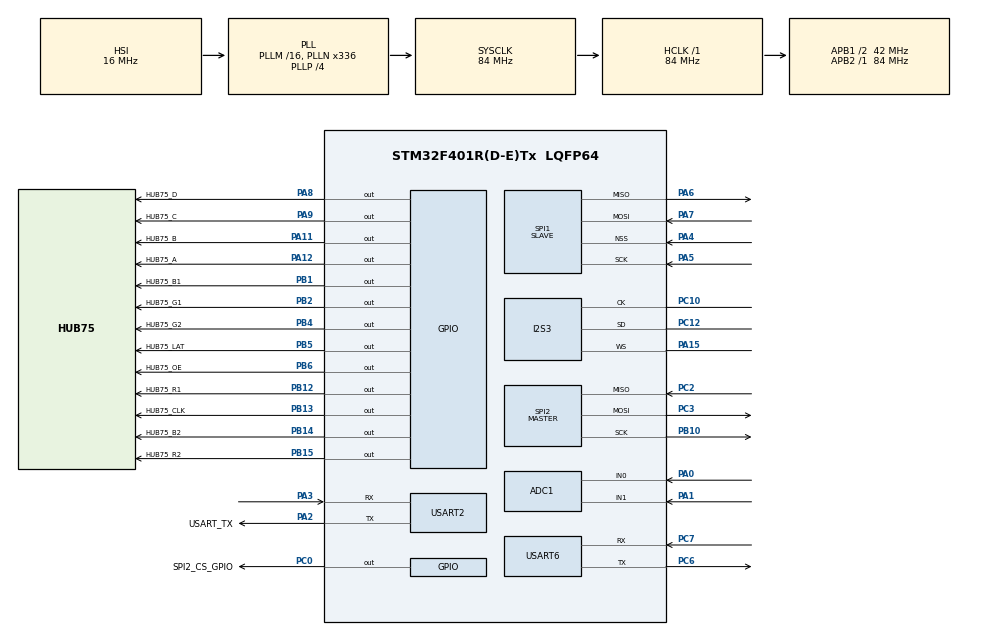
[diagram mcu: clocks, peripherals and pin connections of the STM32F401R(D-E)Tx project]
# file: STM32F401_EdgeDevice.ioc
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ADC1.Channel-0\#ChannelRegularConversion=ADC_CHANNEL_0
ADC1.Channel-1\#ChannelRegularConversion=ADC_CHANNEL_1
ADC1.NbrOfConversion=2
ADC1.NbrOfConversionFlag=1
ADC1.Rank-0\#ChannelRegularConversion=1
ADC1.Rank-1\#ChannelRegularConversion=2
ADC1.SamplingTime-0\#ChannelRegularConversion=ADC_SAMPLETIME_84CYCLES
ADC1.SamplingTime-1\#ChannelRegularConversion=ADC_SAMPLETIME_84CYCLES
ADC1.master=1
Dma.Request0=SPI3_TX
Dma.Request1=USART2_RX
Dma.Request2=USART6_RX
Dma.Request3=SPI1_RX
Dma.SPI1_RX.3.Direction=DMA_PERIPH_TO_MEMORY
Dma.SPI1_RX.3.FIFOMode=DMA_FIFOMODE_DISABLE
Dma.SPI1_RX.3.Instance=DMA2_Stream0
Dma.SPI1_RX.3.MemDataAlignment=DMA_MDATAALIGN_BYTE
Dma.SPI1_RX.3.MemInc=DMA_MINC_ENABLE
Dma.SPI1_RX.3.Mode=DMA_NORMAL
Dma.SPI1_RX.3.PeriphDataAlignment=DMA_PDATAALIGN_BYTE
Dma.SPI1_RX.3.PeriphInc=DMA_PINC_DISABLE
Dma.SPI1_RX.3.Priority=DMA_PRIORITY_LOW
Dma.SPI3_TX.0.Direction=DMA_MEMORY_TO_PERIPH
Dma.SPI3_TX.0.FIFOMode=DMA_FIFOMODE_DISABLE
Dma.SPI3_TX.0.Instance=DMA1_Stream7
Dma.SPI3_TX.0.MemDataAlignment=DMA_MDATAALIGN_HALFWORD
Dma.SPI3_TX.0.MemInc=DMA_MINC_ENABLE
Dma.SPI3_TX.0.Mode=DMA_CIRCULAR
Dma.SPI3_TX.0.PeriphDataAlignment=DMA_PDATAALIGN_HALFWORD
Dma.SPI3_TX.0.PeriphInc=DMA_PINC_DISABLE
Dma.SPI3_TX.0.Priority=DMA_PRIORITY_HIGH
Dma.USART2_RX.1.Direction=DMA_PERIPH_TO_MEMORY
Dma.USART2_RX.1.FIFOMode=DMA_FIFOMODE_DISABLE
Dma.USART2_RX.1.Instance=DMA1_Stream5
Dma.USART2_RX.1.MemDataAlignment=DMA_MDATAALIGN_BYTE
Dma.USART2_RX.1.MemInc=DMA_MINC_ENABLE
Dma.USART2_RX.1.Mode=DMA_CIRCULAR
Dma.USART2_RX.1.PeriphDataAlignment=DMA_PDATAALIGN_BYTE
Dma.USART2_RX.1.PeriphInc=DMA_PINC_DISABLE
Dma.USART2_RX.1.Priority=DMA_PRIORITY_HIGH
Dma.USART6_RX.2.Direction=DMA_PERIPH_TO_MEMORY
Dma.USART6_RX.2.FIFOMode=DMA_FIFOMODE_DISABLE
Dma.USART6_RX.2.Instance=DMA2_Stream1
Dma.USART6_RX.2.MemDataAlignment=DMA_MDATAALIGN_BYTE
Dma.USART6_RX.2.MemInc=DMA_MINC_ENABLE
Dma.USART6_RX.2.Mode=DMA_NORMAL
Dma.USART6_RX.2.PeriphDataAlignment=DMA_PDATAALIGN_BYTE
Dma.USART6_RX.2.PeriphInc=DMA_PINC_DISABLE
Dma.USART6_RX.2.Priority=DMA_PRIORITY_LOW
FATFS._MAX_SS=4096
FATFS._USE_LFN=1
I2S3.AudioFreq=I2S_AUDIOFREQ_48K
I2S3.ErrorAudioFreq=0.0 %
I2S3.FullDuplexMode=I2S_FULLDUPLEXMODE_DISABLE
I2S3.Instance=SPI$Index
I2S3.RealAudioFreq=48.0 KHz
I2S3.VirtualMode=I2S_MODE_MASTER
Mcu.Family=STM32F4
Mcu.Name=STM32F401R(D-E)Tx
Mcu.Package=LQFP64
NVIC.DMA1_Stream5_IRQn=true\:0\:0\:false\:false\:true\:false\:true\:true
NVIC.DMA1_Stream7_IRQn=true\:0\:0\:false\:false\:true\:false\:true\:true
NVIC.DMA2_Stream0_IRQn=true\:0\:0\:false\:false\:true\:false\:true\:true
NVIC.DMA2_Stream1_IRQn=true\:0\:0\:false\:false\:true\:false\:true\:true
NVIC.PriorityGroup=NVIC_PRIORITYGROUP_0
NVIC.SPI1_IRQn=true\:0\:0\:false\:false\:true\:true\:true\:true
NVIC.TIM4_IRQn=true\:0\:0\:false\:false\:true\:true\:true\:true
NVIC.USART2_IRQn=true\:0\:0\:false\:false\:true\:true\:true\:true
NVIC.USART6_IRQn=true\:0\:0\:false\:false\:true\:true\:true\:true
PA0-WKUP.Signal=ADCx_IN0
PA1.Signal=ADCx_IN1
PA11.GPIO_Label=HUB75_B
PA11.Signal=GPIO_Output
PA12.GPIO_Label=HUB75_A
PA12.Signal=GPIO_Output
PA13.GPIO_Label=TMS
PA13.Mode=Serial_Wire
PA13.Signal=SYS_JTMS-SWDIO
PA14.GPIO_Label=TCK
PA14.Mode=Serial_Wire
PA14.Signal=SYS_JTCK-SWCLK
PA15.Mode=Half_Duplex_Master
PA15.Signal=I2S3_WS
PA2.GPIO_Label=USART_TX
PA2.GPIO_Mode=GPIO_MODE_AF_PP
PA2.GPIO_PuPd=GPIO_NOPULL
PA2.GPIO_Speed=GPIO_SPEED_FREQ_LOW
PA2.Mode=Asynchronous
PA2.Signal=USART2_TX
PA3.Mode=Asynchronous
PA3.Signal=USART2_RX
PA4.Mode=NSS_Signal_Hard_Input
PA4.Signal=SPI1_NSS
PA5.Mode=Full_Duplex_Slave
PA5.Signal=SPI1_SCK
PA6.Mode=Full_Duplex_Slave
PA6.Signal=SPI1_MISO
PA7.Mode=Full_Duplex_Slave
PA7.Signal=SPI1_MOSI
PA8.GPIO_Label=HUB75_D
PA8.Signal=GPIO_Output
PA9.GPIO_Label=HUB75_C
PA9.Signal=GPIO_Output
PB1.GPIO_Label=HUB75_B1
PB1.Signal=GPIO_Output
PB10.Mode=Full_Duplex_Master
PB10.Signal=SPI2_SCK
PB12.GPIO_Label=HUB75_R1
PB12.Signal=GPIO_Output
PB13.GPIO_Label=HUB75_CLK
PB13.Signal=GPIO_Output
PB14.GPIO_Label=HUB75_B2
PB14.Signal=GPIO_Output
PB15.GPIO_Label=HUB75_R2
PB15.Signal=GPIO_Output
PB2.GPIO_Label=HUB75_G1
PB2.Signal=GPIO_Output
PB3.GPIO_Label=SWO
PB3.Signal=SYS_JTDO-SWO
PB4.GPIO_Label=HUB75_G2
PB4.Signal=GPIO_Output
PB5.GPIO_Label=HUB75_LAT
PB5.Signal=GPIO_Output
PB6.GPIO_Label=HUB75_OE
PB6.GPIO_PuPd=GPIO_PULLUP
PB6.Signal=GPIO_Output
PC0.GPIO_Label=SPI2_CS_GPIO
PC0.Signal=GPIO_Output
PC10.Mode=Half_Duplex_Master
PC10.Signal=I2S3_CK
PC12.Mode=Half_Duplex_Master
PC12.Signal=I2S3_SD
PC14-OSC32_IN.Mode=LSE-External-Oscillator
PC14-OSC32_IN.Signal=RCC_OSC32_IN
PC15-OSC32_OUT.Mode=LSE-External-Oscillator
PC15-OSC32_OUT.Signal=RCC_OSC32_OUT
PC2.Mode=Full_Duplex_Master
PC2.Signal=SPI2_MISO
PC3.Mode=Full_Duplex_Master
PC3.Signal=SPI2_MOSI
PC6.Mode=Asynchronous
PC6.Signal=USART6_TX
PC7.Mode=Asynchronous
PC7.Signal=USART6_RX
PH0\ -\ OSC_IN.Mode=HSE-External-Clock-Source
PH0\ -\ OSC_IN.Signal=RCC_OSC_IN
PH1\ -\ OSC_OUT.Mode=HSE-External-Clock-Source
PH1\ -\ OSC_OUT.Signal=RCC_OSC_OUT
ProjectManager.HeapSize=0x200
ProjectManager.StackSize=0x400
ProjectManager.TargetToolchain=STM32CubeIDE
RCC.48MHZClocksFreq_Value=48000000
RCC.AHBFreq_Value=84000000
RCC.APB1CLKDivider=RCC_HCLK_DIV2
RCC.APB1Freq_Value=42000000
RCC.APB1TimFreq_Value=84000000
RCC.APB2Freq_Value=84000000
RCC.APB2TimFreq_Value=84000000
RCC.CortexFreq_Value=84000000
RCC.HCLKFreq_Value=84000000
RCC.HSE_VALUE=8000000
RCC.HSI_VALUE=16000000
RCC.PLLI2SR=5
RCC.PLLN=336
RCC.PLLP=RCC_PLLP_DIV4
RCC.PLLQ=7
RCC.SYSCLKFreq_VALUE=84000000
RCC.SYSCLKSource=RCC_SYSCLKSOURCE_PLLCLK
RCC.VCOOutputFreq_Value=336000000
SH.ADCx_IN0.0=ADC1_IN0,IN0
SH.ADCx_IN1.0=ADC1_IN1,IN1
SPI1.Direction=SPI_DIRECTION_2LINES
SPI1.Mode=SPI_MODE_SLAVE
SPI1.VirtualNSS=VM_NSSHARD
SPI1.VirtualType=VM_SLAVE
SPI2.BaudRatePrescaler=SPI_BAUDRATEPRESCALER_256
SPI2.Direction=SPI_DIRECTION_2LINES
SPI2.Mode=SPI_MODE_MASTER
SPI2.VirtualType=VM_MASTER
TIM3.AutoReloadPreload=TIM_AUTORELOAD_PRELOAD_ENABLE
TIM3.Period=9999
TIM3.Prescaler=8399
TIM4.Period=299
TIM4.Prescaler=83
USART2.VirtualMode=VM_ASYNC
USART6.VirtualMode=VM_ASYNC
VP_FATFS_VS_Generic.Mode=User_defined
VP_TIM3_VS_ClockSourceINT.Mode=Internal
VP_TIM4_VS_ClockSourceINT.Mode=Internal
board=NUCLEO-F401RE

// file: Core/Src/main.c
/* USER CODE BEGIN Header */
/**
 ******************************************************************************
 * @file           : main.c
 * @brief          : Main program body
 ******************************************************************************
 * @attention
 *
 * Copyright (c) 2026 STMicroelectronics.
 * All rights reserved.
 *
 * This software is licensed under terms that can be found in the LICENSE file
 * in the root directory of this software component.
 * If no LICENSE file comes with this software, it is provided AS-IS.
 *
 ******************************************************************************
 */
/* USER CODE END Header */
#include "main.h"
#include "adc.h"
#include "dma.h"
#include "fatfs.h"
#include "i2s.h"
#include "spi.h"
#include "tim.h"
#include "usart.h"
#include "gpio.h"

/* USER CODE BEGIN Includes */
#include <stdio.h>
#include "features/sensors/mq135.h"
#include "features/sensors/mq7.h"
#include "app/app_task.h"
#include "features/protocol/uart_handler.h"
#include "services/audio/audio_player.h"
#include "services/audio/audio_stream_rx.h"
/* USER CODE END Includes */

/* USER CODE BEGIN PV */
extern ADC_HandleTypeDef hadc1;
extern TIM_HandleTypeDef htim3;
extern UART_HandleTypeDef huart2;
extern UART_HandleTypeDef huart6;

float alpha = 0.2; // EMA (Exponential Moving Average) weighting factor
uint8_t timer_flag = 0;
/* USER CODE END PV */

void SystemClock_Config(void);
/* USER CODE BEGIN PFP */
void HAL_TIM_PeriodElapsedCallback(TIM_HandleTypeDef *htim);
/* USER CODE END PFP */

/* USER CODE BEGIN 0 */

/* ================= UART printf ================= */
int _write(int file, char *ptr, int len)
{
  HAL_UART_Transmit(&huart2, (uint8_t *)ptr, len, 2000);
  return len;
}

/* USER CODE END 0 */

int main(void)
{

  /* MCU Configuration--------------------------------------------------------*/

  /* Reset of all peripherals, Initializes the Flash interface and the Systick. */
  HAL_Init();

  /* USER CODE BEGIN Init */
  //  HAL_NVIC_SetPriority(SysTick_IRQn, 3, 0);
  /* USER CODE END Init */

  /* Configure the system clock */
  SystemClock_Config();

  /* Initialize all configured peripherals */
  MX_GPIO_Init();
  MX_DMA_Init();
  MX_USART2_UART_Init();
  MX_ADC1_Init();
  MX_TIM3_Init();
  MX_I2S3_Init();
  MX_SPI2_Init();
  MX_FATFS_Init();
  MX_USART6_UART_Init();
  MX_TIM4_Init();
  MX_SPI1_Init();
  /* USER CODE BEGIN 2 */

  // test: LED panel & timer
  AppTask_Init();
  HAL_TIM_Base_Start_IT(&htim4);

  // test: sensor & motor
  // Start Timer with Interrupt
  //    HAL_TIM_Base_Start_IT(&htim3);
  MQ135_Init();
  MQ7_Init();

  // test: LED panel
  AppTask_Init();

  // init: sd card & audio amp
  sd_init();
  Audio_Init();

  // init: uart_protocol
  UART_CMD_Init(&huart6);

  // test: stream
  AudioStreamRx_Init();
  AudioStreamRx_Start();

  printf("running..\r\n");
  /* USER CODE END 2 */

  /* Infinite loop */
  /* USER CODE BEGIN WHILE */
  while (1)
  {
//    // start: uart handler
    UART_Handler_Process();
//
//    // start: LED panel
    AppTask_Run();

//    // start: Audio play
    Audio_Process();

    /* USER CODE END WHILE */

  }
}

void SystemClock_Config(void)
{
  RCC_OscInitTypeDef RCC_OscInitStruct = {0};
  RCC_ClkInitTypeDef RCC_ClkInitStruct = {0};

  /** Configure the main internal regulator output voltage
  */
  __HAL_RCC_PWR_CLK_ENABLE();
  __HAL_PWR_VOLTAGESCALING_CONFIG(PWR_REGULATOR_VOLTAGE_SCALE2);

  /** Initializes the RCC Oscillators according to the specified parameters
  * in the RCC_OscInitTypeDef structure.
  */
  RCC_OscInitStruct.OscillatorType = RCC_OSCILLATORTYPE_HSI;
  RCC_OscInitStruct.HSIState = RCC_HSI_ON;
  RCC_OscInitStruct.HSICalibrationValue = RCC_HSICALIBRATION_DEFAULT;
  RCC_OscInitStruct.PLL.PLLState = RCC_PLL_ON;
  RCC_OscInitStruct.PLL.PLLSource = RCC_PLLSOURCE_HSI;
  RCC_OscInitStruct.PLL.PLLM = 16;
  RCC_OscInitStruct.PLL.PLLN = 336;
  RCC_OscInitStruct.PLL.PLLP = RCC_PLLP_DIV4;
  RCC_OscInitStruct.PLL.PLLQ = 7;
  if (HAL_RCC_OscConfig(&RCC_OscInitStruct) != HAL_OK)
  {
    Error_Handler();
  }

  /** Initializes the CPU, AHB and APB buses clocks
  */
  RCC_ClkInitStruct.ClockType = RCC_CLOCKTYPE_HCLK|RCC_CLOCKTYPE_SYSCLK
                              |RCC_CLOCKTYPE_PCLK1|RCC_CLOCKTYPE_PCLK2;
  RCC_ClkInitStruct.SYSCLKSource = RCC_SYSCLKSOURCE_PLLCLK;
  RCC_ClkInitStruct.AHBCLKDivider = RCC_SYSCLK_DIV1;
  RCC_ClkInitStruct.APB1CLKDivider = RCC_HCLK_DIV2;
  RCC_ClkInitStruct.APB2CLKDivider = RCC_HCLK_DIV1;

  if (HAL_RCC_ClockConfig(&RCC_ClkInitStruct, FLASH_LATENCY_2) != HAL_OK)
  {
    Error_Handler();
  }
}

/* USER CODE BEGIN 4 */

/**
 * @brief  Timer Period Elapsed Callback (Triggered every 1 second)
 * @param  htim: Timer handle
 */

void HAL_TIM_PeriodElapsedCallback(TIM_HandleTypeDef *htim)
{
  if (htim->Instance == TIM3)
  {
    // Set flag to process data in the main loop
    timer_flag = 1;
  }

  if (htim->Instance == TIM4)
  {
    // Set flag to process data in the main loop
    // need compare TIM4_IRQHandler()
    HUB75_RefreshStep_ISR();
  }
}
/* USER CODE END 4 */

void Error_Handler(void)
{
  __disable_irq();
  while (1)
  {
  }
}
